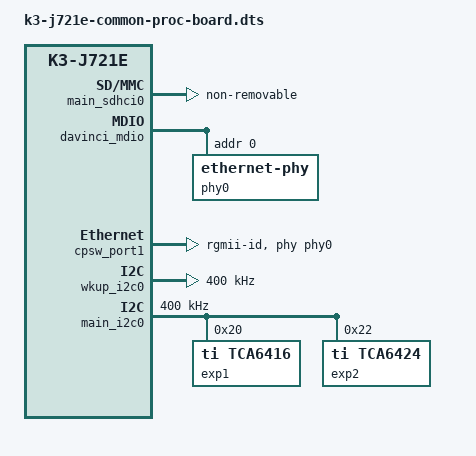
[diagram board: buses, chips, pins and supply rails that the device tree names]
// SPDX-License-Identifier: GPL-2.0
/*
 * Copyright (C) 2019 Texas Instruments Incorporated - http://www.ti.com/
 */

/dts-v1/;

#include "k3-j721e-som-p0.dtsi"
#include <dt-bindings/net/ti-dp83867.h>

/ {
	chosen {
		stdout-path = "serial2:115200n8";
		bootargs = "console=ttyS2,115200n8 earlycon=ns16550a,mmio32,0x02800000";
	};

	aliases {
		remoteproc0 = &mcu_r5fss0_core0;
		remoteproc1 = &mcu_r5fss0_core1;
		remoteproc2 = &main_r5fss0_core0;
		remoteproc3 = &main_r5fss0_core1;
		remoteproc4 = &main_r5fss1_core0;
		remoteproc5 = &main_r5fss1_core1;
		remoteproc6 = &c66_0;
		remoteproc7 = &c66_1;
		remoteproc8 = &c71_0;
		ethernet0 = &cpsw_port1;
	};
};

&wkup_uart0 {
	/* Wakeup UART is used by System firmware */
	status = "disabled";
};

&main_uart3 {
	/* UART not brought out */
	status = "disabled";
};

&main_uart5 {
	/* UART not brought out */
	status = "disabled";
};

&main_uart6 {
	/* UART not brought out */
	status = "disabled";
};

&main_uart7 {
	/* UART not brought out */
	status = "disabled";
};

&main_uart8 {
	/* UART not brought out */
	status = "disabled";
};

&main_uart9 {
	/* UART not brought out */
	status = "disabled";
};

&main_sdhci0 {
	/* eMMC */
	non-removable;
	ti,driver-strength-ohm = <50>;
};

&main_sdhci1 {
	/* SD/MMC */
	ti,driver-strength-ohm = <50>;
};

&wkup_pmx0 {
	mcu_cpsw_pins_default: mcu_cpsw_pins_default {
		pinctrl-single,pins = <
			J721E_WKUP_IOPAD(0x0058, PIN_OUTPUT, 0) /* (N4) MCU_RGMII1_TX_CTL */
			J721E_WKUP_IOPAD(0x005c, PIN_INPUT, 0) /* (N5) MCU_RGMII1_RX_CTL */
			J721E_WKUP_IOPAD(0x0060, PIN_OUTPUT, 0) /* (M2) MCU_RGMII1_TD3 */
			J721E_WKUP_IOPAD(0x0064, PIN_OUTPUT, 0) /* (M3) MCU_RGMII1_TD2 */
			J721E_WKUP_IOPAD(0x0068, PIN_OUTPUT, 0) /* (M4) MCU_RGMII1_TD1 */
			J721E_WKUP_IOPAD(0x006c, PIN_OUTPUT, 0) /* (M5) MCU_RGMII1_TD0 */
			J721E_WKUP_IOPAD(0x0078, PIN_INPUT, 0) /* (L2) MCU_RGMII1_RD3 */
			J721E_WKUP_IOPAD(0x007c, PIN_INPUT, 0) /* (L5) MCU_RGMII1_RD2 */
			J721E_WKUP_IOPAD(0x0080, PIN_INPUT, 0) /* (M6) MCU_RGMII1_RD1 */
			J721E_WKUP_IOPAD(0x0084, PIN_INPUT, 0) /* (L6) MCU_RGMII1_RD0 */
			J721E_WKUP_IOPAD(0x0070, PIN_INPUT, 0) /* (N1) MCU_RGMII1_TXC */
			J721E_WKUP_IOPAD(0x0074, PIN_INPUT, 0) /* (M1) MCU_RGMII1_RXC */
		>;
	};

	mcu_mdio_pins_default: mcu_mdio1_pins_default {
		pinctrl-single,pins = <
			J721E_WKUP_IOPAD(0x008c, PIN_OUTPUT, 0) /* (L1) MCU_MDIO0_MDC */
			J721E_WKUP_IOPAD(0x0088, PIN_INPUT, 0) /* (L4) MCU_MDIO0_MDIO */
		>;
	};

	wkup_i2c0_pins_default: wkup-i2c0-pins-default {
		pinctrl-single,pins = <
			J721E_WKUP_IOPAD(0xf8, PIN_INPUT_PULLUP, 0) /* (J25) WKUP_I2C0_SCL */
			J721E_WKUP_IOPAD(0xfc, PIN_INPUT_PULLUP, 0) /* (H24) WKUP_I2C0_SDA */
		>;
	};
};

&main_pmx0 {
	main_i2c0_pins_default: main-i2c0-pins-default {
		pinctrl-single,pins = <
			J721E_IOPAD(0x220, PIN_INPUT_PULLUP, 0) /* (AC5) I2C0_SCL */
			J721E_IOPAD(0x224, PIN_INPUT_PULLUP, 0) /* (AA5) I2C0_SDA */
		>;
	};
};

&mcu_cpsw {
	pinctrl-names = "default";
	pinctrl-0 = <&mcu_cpsw_pins_default &mcu_mdio_pins_default>;
};

&davinci_mdio {
	phy0: ethernet-phy@0 {
		reg = <0>;
		/* TODO: phy reset: TCA9555RTWR(i2c:0x21)[p04].GPIO_MCU_RGMII_RSTN */
		ti,rx-internal-delay = <DP83867_RGMIIDCTL_2_00_NS>;
		ti,tx-internal-delay = <DP83867_RGMIIDCTL_2_00_NS>;
		ti,fifo-depth = <DP83867_PHYCR_FIFO_DEPTH_4_B_NIB>;
	};
};

&cpsw_port1 {
	phy-mode = "rgmii-id";
	phy-handle = <&phy0>;
};

&wkup_i2c0 {
	pinctrl-names = "default";
	pinctrl-0 = <&wkup_i2c0_pins_default>;
	clock-frequency = <400000>;
};

&main_i2c0 {
	pinctrl-names = "default";
	pinctrl-0 = <&main_i2c0_pins_default>;
	clock-frequency = <400000>;

	exp1: gpio@20 {
		compatible = "ti,tca6416";
		reg = <0x20>;
		gpio-controller;
		#gpio-cells = <2>;
	};

	exp2: gpio@22 {
		compatible = "ti,tca6424";
		reg = <0x22>;
		gpio-controller;
		#gpio-cells = <2>;
	};
};
